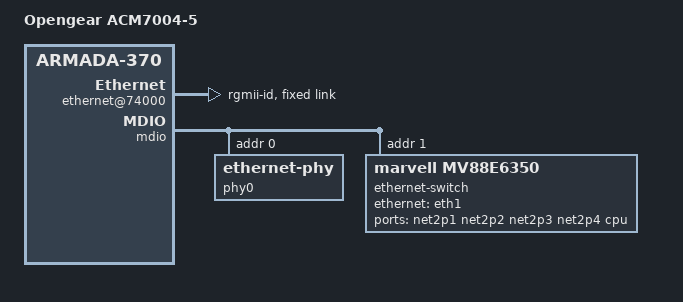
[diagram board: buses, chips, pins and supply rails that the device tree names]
/*
 * Device Tree file for Opengear ACM7004-5
 *
 * Ken Wilson <ken.wilson@opengear.com>
 *
 * This file is licensed under the terms of the GNU General Public
 * License version 2.  This program is licensed "as is" without any
 * warranty of any kind, whether express or implied.
 */
/dts-v1/;
#include "armada-370-acm7000-common.dtsi"

/ {
	model = "Opengear ACM7004-5";
	compatible = "opengear,cm7000", "marvell,armada370", "marvell,armada-370-xp";
	
	soc {
		internal-regs {
			
			ethernet@74000 {
				status = "okay";
				phy-mode = "rgmii-id";
				fixed-link {
					/* to MV88E6350R port 5 */
					speed = <1000>;
					full-duplex;
				};
			};
		};
	};
};

&mdio {	
	status = "okay";

	phy0: ethernet-phy@0 {	/* MV88E1512 */
		reg = <0>;
		marvell,reg-init =
			< 3 16 0xf000 0x004a>,
			< 3 17 0xffc3 0x0014>,
			< 3 18 0xff7f 0x0000>,
			<18 20 0x0000 0x0226>;
	};

	ethernet-switch@1 {	/* MV88E6350R */
		compatible = "marvell,mv88e6350";
		#address-cells = <1>;
		#size-cells = <0>;
		reg = <1>;
		dsa,member = <0 0>;

		ports {
			#address-cells = <1>;
			#size-cells = <0>;

			port@0 {
				reg = <0>;		/* Port number */
				label = "net2p1";	/* netdev name */
			};
			port@1 {
				reg = <1>;
				label = "net2p2";
			};
			port@2 {
				reg = <2>;
				label = "net2p3";
			};
			port@3 {
				reg = <3>;
				label = "net2p4";
			};
			port@5 {
				reg = <5>;
				label = "cpu";
				ethernet = <&eth1>;	/* host device connected to */
				fixed-link {
					speed = <1000>;
					full-duplex;
				};
			};
		};
	};
};
